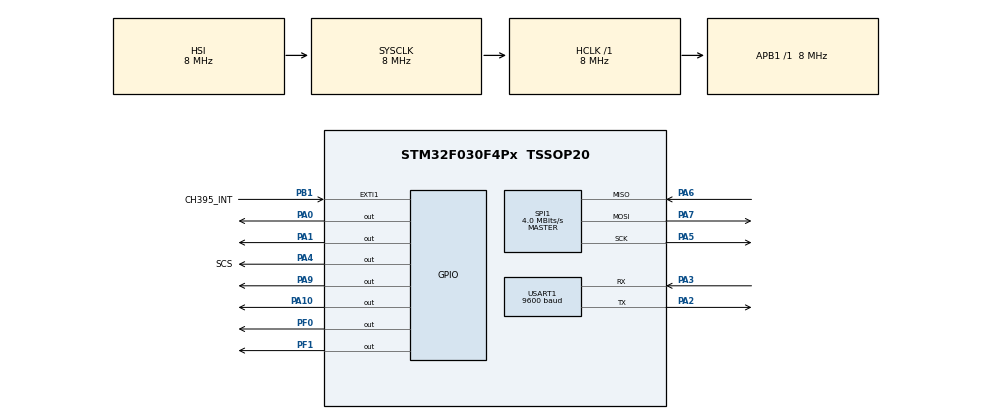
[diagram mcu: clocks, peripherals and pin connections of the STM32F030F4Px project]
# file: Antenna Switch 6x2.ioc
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Mcu.Family=STM32F0
Mcu.Name=STM32F030F4Px
Mcu.Package=TSSOP20
NVIC.EXTI0_1_IRQn=true\:0\:0\:false\:true\:true\:1\:true\:true
NVIC.USART1_IRQn=true\:0\:0\:false\:false\:true\:true\:true
PA0.GPIO_PuPd=GPIO_PULLDOWN
PA0.Signal=GPIO_Output
PA1.GPIO_PuPd=GPIO_PULLDOWN
PA1.Signal=GPIO_Output
PA10.GPIO_PuPd=GPIO_PULLDOWN
PA10.Signal=GPIO_Output
PA13.Mode=Serial_Wire
PA13.Signal=SYS_SWDIO
PA14.Mode=Serial_Wire
PA14.Signal=SYS_SWCLK
PA2.Mode=Asynchronous
PA2.Signal=USART1_TX
PA3.Mode=Asynchronous
PA3.Signal=USART1_RX
PA4.GPIO_Label=SCS
PA4.GPIO_ModeDefaultOutputPP=GPIO_MODE_OUTPUT_PP
PA4.GPIO_PuPd=GPIO_PULLUP
PA4.PinState=GPIO_PIN_SET
PA4.Signal=GPIO_Output
PA5.GPIO_PuPd=GPIO_PULLUP
PA5.Mode=Full_Duplex_Master
PA5.Signal=SPI1_SCK
PA6.GPIO_PuPd=GPIO_PULLUP
PA6.Mode=Full_Duplex_Master
PA6.Signal=SPI1_MISO
PA7.GPIO_PuPd=GPIO_PULLUP
PA7.Mode=Full_Duplex_Master
PA7.Signal=SPI1_MOSI
PA9.GPIO_PuPd=GPIO_PULLDOWN
PA9.Signal=GPIO_Output
PB1.GPIO_Label=CH395_INT
PB1.GPIO_ModeDefaultEXTI=GPIO_MODE_IT_FALLING
PB1.GPIO_PuPd=GPIO_PULLUP
PB1.Signal=GPXTI1
PF0-OSC_IN.GPIO_ModeDefaultOutputPP=GPIO_MODE_OUTPUT_PP
PF0-OSC_IN.GPIO_PuPd=GPIO_PULLDOWN
PF0-OSC_IN.PinState=GPIO_PIN_RESET
PF0-OSC_IN.Signal=GPIO_Output
PF1-OSC_OUT.GPIO_PuPd=GPIO_PULLDOWN
PF1-OSC_OUT.Signal=GPIO_Output
ProjectManager.HeapSize=0x040
ProjectManager.StackSize=0x400
ProjectManager.TargetToolchain=STM32CubeIDE
RCC.AHBFreq_Value=8000000
RCC.APB1Freq_Value=8000000
RCC.APB1TimFreq_Value=8000000
RCC.HCLKFreq_Value=8000000
RCC.PLLMUL=RCC_PLL_MUL12
RCC.SYSCLKFreq_VALUE=8000000
RCC.Usart1ClockSelection=RCC_USART1CLKSOURCE_HSI
SPI1.BaudRatePrescaler=SPI_BAUDRATEPRESCALER_2
SPI1.CLKPhase=SPI_PHASE_2EDGE
SPI1.CLKPolarity=SPI_POLARITY_HIGH
SPI1.CalculateBaudRate=4.0 MBits/s
SPI1.DataSize=SPI_DATASIZE_8BIT
SPI1.Direction=SPI_DIRECTION_2LINES
SPI1.Mode=SPI_MODE_MASTER
SPI1.VirtualType=VM_MASTER
USART1.BaudRate=9600
USART1.VirtualMode-Asynchronous=VM_ASYNC
board=custom

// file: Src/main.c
/* USER CODE BEGIN Header */
/**
  ******************************************************************************
  * @file           : main.c
  * @brief          : Main program body
  ******************************************************************************
  * @attention
  *
  * <h2><center>&copy; Copyright (c) 2019 STMicroelectronics.
  * All rights reserved.</center></h2>
  *
  * This software component is licensed by ST under BSD 3-Clause license,
  * the "License"; You may not use this file except in compliance with the
  * License. You may obtain a copy of the License at:
  *                        opensource.org/licenses/BSD-3-Clause
  *
  ******************************************************************************
  */
/* USER CODE END Header */

#include "main.h"

/* USER CODE BEGIN Includes */
#include <string.h>
#include <stdbool.h>
#include <CH395.h>
#include "Delay.h"
#include "Flash_EEPROM.h"
//#include "Lib485.h
/* USER CODE END Includes */

SPI_HandleTypeDef hspi1;

UART_HandleTypeDef huart1;

/* USER CODE BEGIN PV */
// PINS
const PIN_typedef BCD1_0 = {GPIOF, GPIO_PIN_0};
const PIN_typedef BCD1_1 = {GPIOA, GPIO_PIN_10};
const PIN_typedef BCD1_2 = {GPIOA, GPIO_PIN_9};
const PIN_typedef BCD2_0 = {GPIOA, GPIO_PIN_1};
const PIN_typedef BCD2_1 = {GPIOA, GPIO_PIN_0};
const PIN_typedef BCD2_2 = {GPIOF, GPIO_PIN_1};
const PIN_typedef RW485 = {GPIOF, GPIO_PIN_15}; // Placeholder, actually on extended CH395 GPIO7
AntennaSelector_typedef Selector[N_SELECTORS];
// Saved data on EEPROM
SavedData_typedef SavedData;
// TODO: antenna labels non-volatile on FLASH
uint8_t IP[4] = {192, 168, 4, 1};
uint16_t port = 80;
// flags
volatile BOOL flag_PHY_change;
volatile BOOL flag_IP_conflict;
volatile BOOL flag_CH395_ready = FALSE;
const char HTTP_STR_HELLO[] = "Hello\r\n";
// web config
char ant_labels[MAX_LEN_ANT_LABELS] = {0}; // antenna labels
//extern const uint8_t FS_test_buffer[];
/* USER CODE END PV */

void SystemClock_Config(void);
static void MX_GPIO_Init(void);
static void MX_SPI1_Init(void);
static void MX_USART1_UART_Init(void);
static void MX_NVIC_Init(void);

int main(void)
{
	uint8_t i;
  /* USER CODE BEGIN 1 */
	Selector[0].PIN_BCD0 = BCD1_0;
	Selector[0].PIN_BCD1 = BCD1_1;
	Selector[0].PIN_BCD2 = BCD1_2;
	Selector[0].sel = 0;
	Selector[1].PIN_BCD0 = BCD2_0;
	Selector[1].PIN_BCD1 = BCD2_1;
	Selector[1].PIN_BCD2 = BCD2_2;
	Selector[0].sel = 0;

  /* USER CODE END 1 */

  /* MCU Configuration--------------------------------------------------------*/

  /* Reset of all peripherals, Initializes the Flash interface and the Systick. */
  HAL_Init();

  /* Configure the system clock */
  SystemClock_Config();

  /* Initialize all configured peripherals */
  MX_GPIO_Init();
  MX_SPI1_Init();
  MX_USART1_UART_Init();

  /* Initialize interrupts */
  MX_NVIC_Init();
  /* USER CODE BEGIN 2 */
// Load EEPROM data
  EEPROM.base_addr = EEPROM_BASE_ADDR;
  EEPROM.size = 400;
  EEPROM_ReadBytes(&EEPROM, (uint8_t*)&SavedData, sizeof(SavedData_typedef));
  if(SavedData.EEPROM_valid_ID != EEPROM_VALID_BYTE)
  {
	  // create a new EEPROM image
	  for(i=0; i<NUM_ANTENNA; ++i)
	  {
		  strcpy(SavedData.ant_labels[i], "Ant");
		  SavedData.ant_labels[i][4] = '1' + i;
		  SavedData.ant_labels[i][5] = 0;
	  }
	  SavedData.EEPROM_valid_ID = EEPROM_VALID_BYTE;
	  EEPROM_WriteBytes(&EEPROM, (uint8_t*)&SavedData, sizeof(SavedData_typedef));
	  EEPROM_ReadBytes(&EEPROM, (uint8_t*)&SavedData, sizeof(SavedData_typedef));
  }
  DEBUG_LOG("Self checking...\n");
//   Check FS
  // USART
//  begin_serial485(p485, &huart1, RW485, SCHED_INTERVAL / 1000);
//  HAL_UART_Receive_IT(&huart1, p485->rx_buffer, 1);
  // don't forget to override the callback function of USART1
//   Check ch395
	Delay_ms(500); // wait for CH395 being ready from power on`	q1was
RESET_CH395:
	CH395CMDReset();
	Delay_ms(500); // wait for CH395 being ready from power on`	q1was
	// initialize CH395 GPIO settings to INPUT/PULL DOWN
	CH395WriteGPIOAddr(GPIO_DIR_REG, 0);
	CH395WriteGPIOAddr(GPIO_PU_REG, 0);
	CH395WriteGPIOAddr(GPIO_PD_REG, 0xff);
  // initialize TCP server
  flag_CH395_ready = CH395TCPServerStart(*(uint32_t*)IP, port);
  //CH395SetBuffer();
  flag_PHY_change = FALSE;
  flag_IP_conflict = FALSE;
  /* USER CODE END 2 */

  /* Infinite loop */
  /* USER CODE BEGIN WHILE */
  while (1)
  {
	  // handle CH395 interrupt flags
	  if(flag_PHY_change || flag_IP_conflict) goto RESET_CH395;
	  if(flag_CH395_ready && ch395.RX_received)
	  {
		  HTTPHandle(&ch395);
	  }
	  // execute 485 command
//	  if(p485->is_command_ready)
//	  {
//		  if(execute_command(p485))
//		  {
//			  send_serial485(p485, "\r");
//		  }
//		  else
//			  send_serial485(p485, "?>\r");
//	  }
    /* USER CODE END WHILE */

  }
}

void SystemClock_Config(void)
{
  RCC_OscInitTypeDef RCC_OscInitStruct = {0};
  RCC_ClkInitTypeDef RCC_ClkInitStruct = {0};
  RCC_PeriphCLKInitTypeDef PeriphClkInit = {0};

  /** Initializes the CPU, AHB and APB busses clocks
  */
  RCC_OscInitStruct.OscillatorType = RCC_OSCILLATORTYPE_HSI;
  RCC_OscInitStruct.HSIState = RCC_HSI_ON;
  RCC_OscInitStruct.HSICalibrationValue = RCC_HSICALIBRATION_DEFAULT;
  RCC_OscInitStruct.PLL.PLLState = RCC_PLL_NONE;
  if (HAL_RCC_OscConfig(&RCC_OscInitStruct) != HAL_OK)
  {
    Error_Handler();
  }
  /** Initializes the CPU, AHB and APB busses clocks
  */
  RCC_ClkInitStruct.ClockType = RCC_CLOCKTYPE_HCLK|RCC_CLOCKTYPE_SYSCLK
                              |RCC_CLOCKTYPE_PCLK1;
  RCC_ClkInitStruct.SYSCLKSource = RCC_SYSCLKSOURCE_HSI;
  RCC_ClkInitStruct.AHBCLKDivider = RCC_SYSCLK_DIV1;
  RCC_ClkInitStruct.APB1CLKDivider = RCC_HCLK_DIV1;

  if (HAL_RCC_ClockConfig(&RCC_ClkInitStruct, FLASH_LATENCY_0) != HAL_OK)
  {
    Error_Handler();
  }
  PeriphClkInit.PeriphClockSelection = RCC_PERIPHCLK_USART1;
  PeriphClkInit.Usart1ClockSelection = RCC_USART1CLKSOURCE_HSI;
  if (HAL_RCCEx_PeriphCLKConfig(&PeriphClkInit) != HAL_OK)
  {
    Error_Handler();
  }
}

/**
  * @brief NVIC Configuration.
  * @retval None
  */
static void MX_NVIC_Init(void)
{
  /* EXTI0_1_IRQn interrupt configuration */
  HAL_NVIC_SetPriority(EXTI0_1_IRQn, 0, 0);
  HAL_NVIC_EnableIRQ(EXTI0_1_IRQn);
}

static void MX_SPI1_Init(void)
{

  /* SPI1 parameter configuration*/
  hspi1.Instance = SPI1;
  hspi1.Init.Mode = SPI_MODE_MASTER;
  hspi1.Init.Direction = SPI_DIRECTION_2LINES;
  hspi1.Init.DataSize = SPI_DATASIZE_8BIT;
  hspi1.Init.CLKPolarity = SPI_POLARITY_HIGH;
  hspi1.Init.CLKPhase = SPI_PHASE_2EDGE;
  hspi1.Init.NSS = SPI_NSS_SOFT;
  hspi1.Init.BaudRatePrescaler = SPI_BAUDRATEPRESCALER_2;
  hspi1.Init.FirstBit = SPI_FIRSTBIT_MSB;
  hspi1.Init.TIMode = SPI_TIMODE_DISABLE;
  hspi1.Init.CRCCalculation = SPI_CRCCALCULATION_DISABLE;
  hspi1.Init.CRCPolynomial = 7;
  hspi1.Init.CRCLength = SPI_CRC_LENGTH_DATASIZE;
  hspi1.Init.NSSPMode = SPI_NSS_PULSE_DISABLE;
  if (HAL_SPI_Init(&hspi1) != HAL_OK)
  {
    Error_Handler();
  }

}

static void MX_USART1_UART_Init(void)
{

  huart1.Instance = USART1;
  huart1.Init.BaudRate = 9600;
  huart1.Init.WordLength = UART_WORDLENGTH_8B;
  huart1.Init.StopBits = UART_STOPBITS_1;
  huart1.Init.Parity = UART_PARITY_NONE;
  huart1.Init.Mode = UART_MODE_TX_RX;
  huart1.Init.HwFlowCtl = UART_HWCONTROL_NONE;
  huart1.Init.OverSampling = UART_OVERSAMPLING_16;
  huart1.Init.OneBitSampling = UART_ONE_BIT_SAMPLE_DISABLE;
  huart1.AdvancedInit.AdvFeatureInit = UART_ADVFEATURE_NO_INIT;
  if (HAL_UART_Init(&huart1) != HAL_OK)
  {
    Error_Handler();
  }

}

static void MX_GPIO_Init(void)
{
  GPIO_InitTypeDef GPIO_InitStruct = {0};

  /* GPIO Ports Clock Enable */
  __HAL_RCC_GPIOF_CLK_ENABLE();
  __HAL_RCC_GPIOA_CLK_ENABLE();
  __HAL_RCC_GPIOB_CLK_ENABLE();

  /*Configure GPIO pin Output Level */
  HAL_GPIO_WritePin(GPIOF, GPIO_PIN_0|GPIO_PIN_1, GPIO_PIN_RESET);

  /*Configure GPIO pin Output Level */
  HAL_GPIO_WritePin(GPIOA, GPIO_PIN_0|GPIO_PIN_1|GPIO_PIN_9|GPIO_PIN_10, GPIO_PIN_RESET);

  /*Configure GPIO pin Output Level */
  HAL_GPIO_WritePin(SCS_GPIO_Port, SCS_Pin, GPIO_PIN_SET);

  /*Configure GPIO pins : PF0 PF1 */
  GPIO_InitStruct.Pin = GPIO_PIN_0|GPIO_PIN_1;
  GPIO_InitStruct.Mode = GPIO_MODE_OUTPUT_PP;
  GPIO_InitStruct.Pull = GPIO_PULLDOWN;
  GPIO_InitStruct.Speed = GPIO_SPEED_FREQ_LOW;
  HAL_GPIO_Init(GPIOF, &GPIO_InitStruct);

  /*Configure GPIO pins : PA0 PA1 PA9 PA10 */
  GPIO_InitStruct.Pin = GPIO_PIN_0|GPIO_PIN_1|GPIO_PIN_9|GPIO_PIN_10;
  GPIO_InitStruct.Mode = GPIO_MODE_OUTPUT_PP;
  GPIO_InitStruct.Pull = GPIO_PULLDOWN;
  GPIO_InitStruct.Speed = GPIO_SPEED_FREQ_LOW;
  HAL_GPIO_Init(GPIOA, &GPIO_InitStruct);

  /*Configure GPIO pin : SCS_Pin */
  GPIO_InitStruct.Pin = SCS_Pin;
  GPIO_InitStruct.Mode = GPIO_MODE_OUTPUT_PP;
  GPIO_InitStruct.Pull = GPIO_PULLUP;
  GPIO_InitStruct.Speed = GPIO_SPEED_FREQ_LOW;
  HAL_GPIO_Init(SCS_GPIO_Port, &GPIO_InitStruct);

  /*Configure GPIO pin : CH395_INT_Pin */
  GPIO_InitStruct.Pin = CH395_INT_Pin;
  GPIO_InitStruct.Mode = GPIO_MODE_IT_FALLING;
  GPIO_InitStruct.Pull = GPIO_PULLUP;
  HAL_GPIO_Init(CH395_INT_GPIO_Port, &GPIO_InitStruct);

}

/* USER CODE BEGIN 4 */
//void HAL_UART_RxCpltCallback(UART_HandleTypeDef *huart)
//{
//	onReceived_serial485(p485);
//}

void interrupt_CH395()
{
	uint8_t glob_int_status, sock_int_status, i;
	BEGIN_INT_CH395:
	// read global int status
	glob_int_status = CH395CMDGetGlobIntStatus();
//	if(glob_int_status & GINT_STAT_UNREACH)
//	{
//	}
//	if(glob_int_status & GINT_STAT_IP_CONFLI)
//	{
//		flag_IP_conflict = TRUE;
//	}
	if(glob_int_status & GINT_STAT_PHY_CHANGE)
	{
		flag_PHY_change = TRUE;
	}
	glob_int_status >>= 4; // get socket interrupt status
	if(!glob_int_status) goto END_INT_CH395;
	// handle SOCKET interrupts
	for(i=1; i<=NUM_SOCKETS; ++i)
	{
		glob_int_status >>= 1;
		if(glob_int_status & 1) // the LSB of glob_int_status indicates SOCK#i interrupt status
		{
			sock_int_status = CH395GetSocketInt(i);
			if(sock_int_status & SINT_STAT_SENBUF_FREE) // Send buffer free
			{
				ch395.TX_available |= (1 << i);
//				if(ch395.SOCK_responding == i)
//				{
//					HTTPRequestParseState* pS = parseStates +i -1;
//					if(pS->response_stage == RESPONSE_CONTENT_REMAIN) // continue the sending process
//					{
//						uint16_t len = pS->len_response_content_remain;
//						CH395SendData(i, pS->response_content, ((len<MAX_SIZE_PACK)?(len):(len=MAX_SIZE_PACK)));
//						// sent
//						pS->len_response_content_remain -= len;
//						pS->response_content += len; // move the cursor
//						if(pS->len_response_content_remain == 0)
//							resetHTTPParseState(pS);
//						// TODO: multiple packages
//					}
//					else if(pS->response_stage == RESPONSE_PREPARED) // start the sending process
//					{
//						uint16_t max_len_content = MAX_SIZE_PACK - pS->len_response_header;
//						uint16_t len_content_this_time = ((pS->len_response_content_remain < max_len_content)
//								? (pS->len_response_content_remain)
//										: (max_len_content));
//						CH395StartSendingData(i, pS->len_response_header + len_content_this_time);
//						CH395ContinueSendingData(pS->response_header, pS->len_response_header);
//						CH395ContinueSendingData(pS->response_content, len_content_this_time);
//						CH395Complete();
//						pS->len_response_content_remain -= len_content_this_time;
//						pS->response_content += len_content_this_time;
//						if(pS->len_response_content_remain == 0) // all content completely sent this time
//						{
//							ch395.SOCK_responding = -1;
//							// TODO: enque next sock to respond
//							pS->response_stage = RESPONSE_NOT_PREPARED;
//						}
//						else // content remained to be sent next time
//						{
//							pS->response_stage = RESPONSE_CONTENT_REMAIN;
//						}
//					}
//				}
			}

			if(sock_int_status & SINT_STAT_RECV) // data received on SOCK i
			{
				HTTPRequestParseState* pS = parseStates + i - 1;
				uint16_t len = CH395GetRecvLength(i);
				CH395GetRecvData(i, (len < CH395_SIZE_BUFFER)?(len):(len = CH395_SIZE_BUFFER-1), ch395.buffer);
				ch395.buffer[len] = 0; // terminate the recved text stream
				resetHTTPParseState(pS);
				pS->sock_index = i;
				if(parse_http(pS, ch395.buffer))
				{
					ch395.RX_received |= (1 << i);
					if(ch395.SOCK_responding < 0) // no socket currently responding to
						ch395.SOCK_responding = i;
				}
				CH395ClearRecvBuf(i);
			}
			if(sock_int_status & SINT_STAT_CONNECT) // SOCK i connected
			{
				ch395.socket_connected |= (1 << i);
			}
			if(sock_int_status & SINT_STAT_DISCONNECT) // SOCK i disconnected
			{
				ch395.socket_connected &= ~(1<<i);
				ch395.RX_received &= ~(1<<i);
				if(ch395.SOCK_responding == i) ch395.SOCK_responding = -1; // release the responding socket flag
			}
//			if(sock_int_status & SINT_STAT_TIM_OUT)
//			{
//			}
		}
	}
	END_INT_CH395:
	return;
//	if(HAL_GPIO_ReadPin(CH395_INT_GPIO_Port, CH395_INT_Pin) == GPIO_PIN_RESET) goto BEGIN_INT_CH395;
}

void switch_Antenna(uint8_t A, uint8_t B)
{
	uint8_t i;
	Selector[0].sel = A;
	Selector[1].sel = B;
	if(A==B && A>0) return;
	for(i=0; i<N_SELECTORS; ++i)
	{
		PIN_typedef pin0 = Selector[i].PIN_BCD0;
		PIN_typedef pin1 = Selector[i].PIN_BCD1;
		PIN_typedef pin2 = Selector[i].PIN_BCD2;
		uint8_t val = Selector[i].sel;
		HAL_GPIO_WritePin(pin0.group, pin0.pin, val & 1);
		HAL_GPIO_WritePin(pin1.group, pin1.pin, (val >> 1) & 1);
		HAL_GPIO_WritePin(pin2.group, pin2.pin, (val >> 2) & 2);
	}
}

uint8_t get_Antenna() //0-3:SEL1 4-7:SEL2
{
	uint8_t d = CH395ReadGPIOAddr(GPIO_IN_REG); // read CH395 GPIO
	uint8_t res = 0;
	res |= (d >> BCDM1_0) & 1;// bit 0: BCDM1_0
	res |= ((d >> BCDM1_1) & 1) << 1;// bit 1: BCDM1_1
	res |= ((d >> BCDM1_2) & 1) << 2;// bit 2: BCDM1_2
	res |= ((d >> BCDM2_0) & 1) << 4;// bit 0: BCDM2_0
	res |= ((d >> BCDM2_1) & 1) << 5;// bit 1: BCDM1_1
	res |= ((d >> BCDM2_2) & 1) << 6;// bit 1: BCDM1_1
	return res;
}
/* USER CODE END 4 */

void Error_Handler(void)
{
}

/************************ (C) COPYRIGHT STMicroelectronics *****END OF FILE****/
